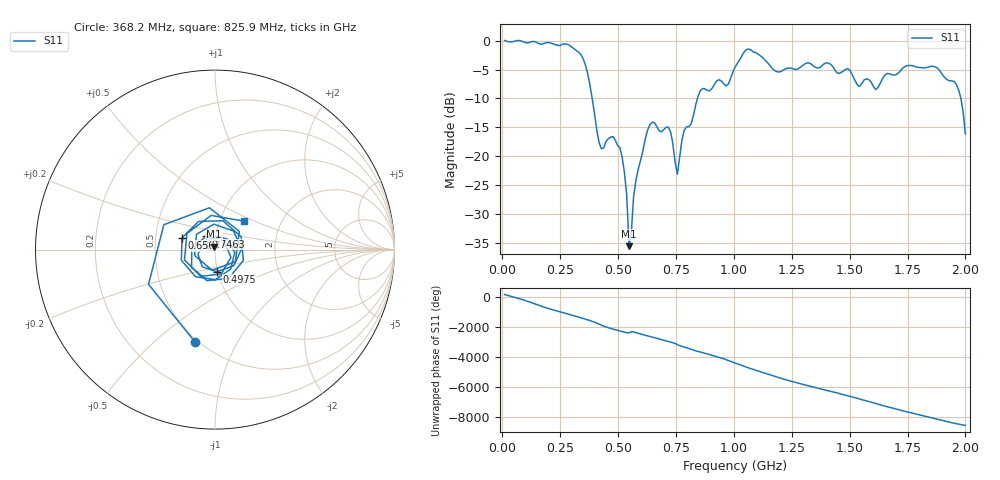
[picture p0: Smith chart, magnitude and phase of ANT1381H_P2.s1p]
!Created with skrf (http://scikit-rf.org).
# Hz S RI R 50.0
!freq ReS11 ImS11
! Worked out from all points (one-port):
!   201 points, 10 MHz to 2 GHz, reference 50 ohm
!   lowest |S11| = -35.6 dB at 547.3 MHz (marker M1), VSWR 1.03, Z = 49.4 + j1.55 ohm
!   |S11| at or under -10 dB: 388.2 MHz to 842.7 MHz (454.6 MHz wide, 73.9 % of centre); 1.981 GHz to end of sweep
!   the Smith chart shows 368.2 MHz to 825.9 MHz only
!   S11 on the Smith chart (normalised r, x): 368.2 MHz: 0.48, -0.69; 497.6 MHz: 0.99, -0.25; 656.8 MHz: 0.68, +0.09; 746.3 MHz: 0.90, +0.13; 825.9 MHz: 1.31, +0.44
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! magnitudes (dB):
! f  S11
! 10 MHz  0.0
! 258.8 MHz  -0.6
! 338.4 MHz  -2.4
! 368.2 MHz  -5.6
! 427.9 MHz  -18.7
! 497.6 MHz  -18.1
! 507.5 MHz  -18.5
! 537.4 MHz  -26.7
! 547.3 MHz  -35.6
! 577.1 MHz  -24.1
! 626.9 MHz  -15.5
! 656.8 MHz  -14.2
! 716.5 MHz  -14.9
! 746.3 MHz  -21.1
! 756.2 MHz  -23.1
! 786.1 MHz  -15.5
! 825.9 MHz  -12.9
! 855.8 MHz  -8.6
! 975.1 MHz  -7.6
! 1.005 GHz  -4.6
! 1.065 GHz  -1.5
! 1.254 GHz  -4.8
! 1.502 GHz  -5.2
! 1.612 GHz  -8.4
! 1.751 GHz  -4.3
! 1.95 GHz  -7.0
! 1.98 GHz  -9.9
! 2 GHz  -16.1
